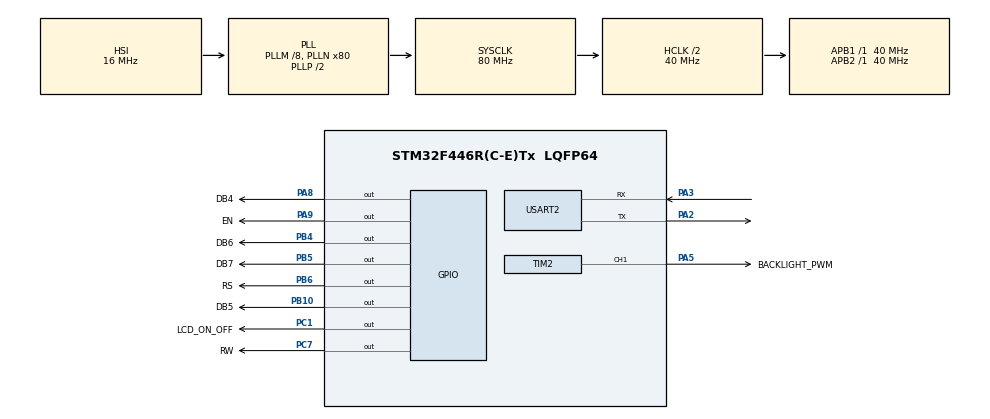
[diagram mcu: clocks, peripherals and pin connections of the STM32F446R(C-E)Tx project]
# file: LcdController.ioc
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Mcu.Family=STM32F4
Mcu.Name=STM32F446R(C-E)Tx
Mcu.Package=LQFP64
NVIC.PriorityGroup=NVIC_PRIORITYGROUP_4
NVIC.TIM1_BRK_TIM9_IRQn=true\:0\:0\:false\:false\:true\:true\:true\:true
PA2.Mode=Asynchronous
PA2.Signal=USART2_TX
PA3.Mode=Asynchronous
PA3.Signal=USART2_RX
PA5.GPIO_Label=BACKLIGHT_PWM
PA5.Signal=S_TIM2_CH1_ETR
PA8.GPIO_Label=DB4
PA8.Signal=GPIO_Output
PA9.GPIO_Label=EN
PA9.Signal=GPIO_Output
PB10.GPIO_Label=DB5
PB10.Signal=GPIO_Output
PB4.GPIO_Label=DB6
PB4.Signal=GPIO_Output
PB5.GPIO_Label=DB7
PB5.Signal=GPIO_Output
PB6.GPIO_Label=RS
PB6.Signal=GPIO_Output
PC1.GPIO_Label=LCD_ON_OFF
PC1.Signal=GPIO_Output
PC7.GPIO_Label=RW
PC7.Signal=GPIO_Output
ProjectManager.HeapSize=0x200
ProjectManager.StackSize=0x400
ProjectManager.TargetToolchain=STM32CubeIDE
RCC.AHBCLKDivider=RCC_SYSCLK_DIV2
RCC.AHBFreq_Value=40000000
RCC.APB1Freq_Value=40000000
RCC.APB1TimFreq_Value=40000000
RCC.APB2Freq_Value=40000000
RCC.APB2TimFreq_Value=40000000
RCC.CortexFreq_Value=40000000
RCC.HCLKFreq_Value=40000000
RCC.PLLM=8
RCC.PLLN=80
RCC.SYSCLKFreq_VALUE=80000000
RCC.SYSCLKSource=RCC_SYSCLKSOURCE_PLLCLK
RCC.USBFreq_Value=80000000
RCC.VCOOutputFreq_Value=160000000
SH.S_TIM2_CH1_ETR.0=TIM2_CH1,PWM Generation1 CH1
TIM2.Channel-PWM\ Generation1\ CH1=TIM_CHANNEL_1
TIM2.Period=50
TIM2.Prescaler=40-1
TIM2.Pulse-PWM\ Generation1\ CH1=500
TIM9.Period=80
TIM9.Prescaler=5-1
USART2.VirtualMode=VM_ASYNC
VP_TIM9_VS_ClockSourceINT.Mode=Internal
board=custom

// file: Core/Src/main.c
/* USER CODE BEGIN Header */
/**
  ******************************************************************************
  * @file           : main.c
  * @brief          : Main program body
  ******************************************************************************
  * @attention
  *
  * Copyright (c) 2023 STMicroelectronics.
  * All rights reserved.
  *
  * This software is licensed under terms that can be found in the LICENSE file
  * in the root directory of this software component.
  * If no LICENSE file comes with this software, it is provided AS-IS.
  *
  ******************************************************************************
  */
/* USER CODE END Header */
#include "main.h"

/* USER CODE BEGIN Includes */
#include "lcdController.h"
#include <stdio.h>
#include <string.h>
#include <inttypes.h>

/* USER CODE END Includes */

TIM_HandleTypeDef htim2;
TIM_HandleTypeDef htim9;
UART_HandleTypeDef huart2;

/* USER CODE BEGIN PV */
LcdController lcd;
uint8_t string1[17] = "*  LCD - 16x4  *";
uint8_t string2[17] = "* DISPLAY TEST *";
uint8_t string3[17] = "*  0123456789  *";
uint8_t string4[17] = "*    ABCDEF    *";
uint8_t string5[17] = "################";
uint8_t test = 0;
uint32_t counterTimer1 = 0;
uint32_t counterTest = 0;

/* USER CODE END PV */

void SystemClock_Config(void);
static void MX_GPIO_Init(void);
static void MX_USART2_UART_Init(void);
static void MX_TIM9_Init(void);
static void MX_TIM2_Init(void);

/* USER CODE BEGIN 0 */

/*
 * Timer interrupt handling (10us)
 */
void HAL_TIM_PeriodElapsedCallback(TIM_HandleTypeDef *htim)
{
	if(htim == &htim9)
	{
		if(lcdControllerGetDelayStatus(&lcd) == TRUE)
		{
			lcdControllerIncrementDelayCounter(&lcd);
		}

		if(lcdControllerGetEnableDelayStatus(&lcd) == TRUE)
		{
			lcdControllerIncrementEnableDelayCounter(&lcd);
		}

		counterTimer1++;
	}
}

/* USER CODE END 0 */

int main(void)
{

  /* MCU Configuration--------------------------------------------------------*/

  /* Reset of all peripherals, Initializes the Flash interface and the Systick. */
  HAL_Init();

  /* Configure the system clock */
  SystemClock_Config();

  /* Initialize all configured peripherals */
  MX_GPIO_Init();
  MX_USART2_UART_Init();
  MX_TIM9_Init();
  MX_TIM2_Init();
  /* USER CODE BEGIN 2 */

  lcdControllerInitStruct(&lcd,
		  RS_GPIO_Port, RS_Pin,
		  RW_GPIO_Port, RW_Pin,
		  EN_GPIO_Port, EN_Pin,
		  DB4_GPIO_Port, DB4_Pin,
		  DB5_GPIO_Port, DB5_Pin,
		  DB6_GPIO_Port, DB6_Pin,
		  DB7_GPIO_Port, DB7_Pin,
		  LCD_ON_OFF_GPIO_Port, LCD_ON_OFF_Pin,
		  &htim2, TIM_CHANNEL_1);

  HAL_Delay(250);
  HAL_TIM_PWM_Start(&htim2, TIM_CHANNEL_1);
  HAL_TIM_Base_Start_IT(&htim9);

  /* USER CODE END 2 */

  /* Infinite loop */
  while (1)
  {

    /* USER CODE BEGIN 3 */

	  if(lcdControllerIsInitialized(&lcd) == FALSE)
	  {
		  lcdControllerInit(&lcd);
		  continue;
	  }

	  if(counterTimer1 >= 100000)
	  {
		  counterTimer1 = 0;

		  if (test == 0)
		  {
			  switch (counterTest)
			  {
			  	  case 0:
			  		  lcdControllerSetString(&lcd, ROW_0, string1);
			  		  lcdControllerSetString(&lcd, ROW_1, string2);
			  		  lcdControllerSetString(&lcd, ROW_2, string3);
			  		  lcdControllerSetString(&lcd, ROW_3, string4);
			  		  counterTest++;
			  		  break;

			  	  case 1:
			  		  lcdControllerSetString(&lcd, ROW_0, string4);
			  		  lcdControllerSetString(&lcd, ROW_1, string1);
			  		  lcdControllerSetString(&lcd, ROW_2, string2);
			  		  lcdControllerSetString(&lcd, ROW_3, string3);
			  		  counterTest++;
			  		  break;

			  	  case 2:
			  		  lcdControllerSetString(&lcd, ROW_0, string3);
			  		  lcdControllerSetString(&lcd, ROW_1, string4);
			  		  lcdControllerSetString(&lcd, ROW_2, string1);
			  		  lcdControllerSetString(&lcd, ROW_3, string2);
			  		  counterTest++;
			  		  break;

			  	  case 3:
			  		  lcdControllerSetString(&lcd, ROW_0, string2);
			  		  lcdControllerSetString(&lcd, ROW_1, string3);
			  		  lcdControllerSetString(&lcd, ROW_2, string4);
			  		  lcdControllerSetString(&lcd, ROW_3, string1);
			  		  counterTest++;
			  		  break;

			  	  case 4:
			  		  lcdControllerSetString(&lcd, ROW_0, string5);
			  		  lcdControllerSetString(&lcd, ROW_1, string5);
			  		  lcdControllerSetString(&lcd, ROW_2, string5);
			  		  lcdControllerSetString(&lcd, ROW_3, string5);
			  		  counterTest = 0;
			  		  break;

			  	  default:
			  		  counterTest = 0;
			  		  break;
			  }

		  }
		  else
		  {

		  }

	  }

	  lcdControllerUpdate(&lcd);
  }
  /* USER CODE END 3 */
}

void SystemClock_Config(void)
{
  RCC_OscInitTypeDef RCC_OscInitStruct = {0};
  RCC_ClkInitTypeDef RCC_ClkInitStruct = {0};

  /** Configure the main internal regulator output voltage
  */
  __HAL_RCC_PWR_CLK_ENABLE();
  __HAL_PWR_VOLTAGESCALING_CONFIG(PWR_REGULATOR_VOLTAGE_SCALE3);

  /** Initializes the RCC Oscillators according to the specified parameters
  * in the RCC_OscInitTypeDef structure.
  */
  RCC_OscInitStruct.OscillatorType = RCC_OSCILLATORTYPE_HSI;
  RCC_OscInitStruct.HSIState = RCC_HSI_ON;
  RCC_OscInitStruct.HSICalibrationValue = RCC_HSICALIBRATION_DEFAULT;
  RCC_OscInitStruct.PLL.PLLState = RCC_PLL_ON;
  RCC_OscInitStruct.PLL.PLLSource = RCC_PLLSOURCE_HSI;
  RCC_OscInitStruct.PLL.PLLM = 8;
  RCC_OscInitStruct.PLL.PLLN = 80;
  RCC_OscInitStruct.PLL.PLLP = RCC_PLLP_DIV2;
  RCC_OscInitStruct.PLL.PLLQ = 2;
  RCC_OscInitStruct.PLL.PLLR = 2;
  if (HAL_RCC_OscConfig(&RCC_OscInitStruct) != HAL_OK)
  {
    Error_Handler();
  }

  /** Initializes the CPU, AHB and APB buses clocks
  */
  RCC_ClkInitStruct.ClockType = RCC_CLOCKTYPE_HCLK|RCC_CLOCKTYPE_SYSCLK
                              |RCC_CLOCKTYPE_PCLK1|RCC_CLOCKTYPE_PCLK2;
  RCC_ClkInitStruct.SYSCLKSource = RCC_SYSCLKSOURCE_PLLCLK;
  RCC_ClkInitStruct.AHBCLKDivider = RCC_SYSCLK_DIV2;
  RCC_ClkInitStruct.APB1CLKDivider = RCC_HCLK_DIV1;
  RCC_ClkInitStruct.APB2CLKDivider = RCC_HCLK_DIV1;

  if (HAL_RCC_ClockConfig(&RCC_ClkInitStruct, FLASH_LATENCY_1) != HAL_OK)
  {
    Error_Handler();
  }
}

static void MX_TIM2_Init(void)
{

  TIM_MasterConfigTypeDef sMasterConfig = {0};
  TIM_OC_InitTypeDef sConfigOC = {0};

  htim2.Instance = TIM2;
  htim2.Init.Prescaler = 40-1;
  htim2.Init.CounterMode = TIM_COUNTERMODE_UP;
  htim2.Init.Period = 50;
  htim2.Init.ClockDivision = TIM_CLOCKDIVISION_DIV1;
  htim2.Init.AutoReloadPreload = TIM_AUTORELOAD_PRELOAD_DISABLE;
  if (HAL_TIM_PWM_Init(&htim2) != HAL_OK)
  {
    Error_Handler();
  }
  sMasterConfig.MasterOutputTrigger = TIM_TRGO_RESET;
  sMasterConfig.MasterSlaveMode = TIM_MASTERSLAVEMODE_DISABLE;
  if (HAL_TIMEx_MasterConfigSynchronization(&htim2, &sMasterConfig) != HAL_OK)
  {
    Error_Handler();
  }
  sConfigOC.OCMode = TIM_OCMODE_PWM1;
  sConfigOC.Pulse = 500;
  sConfigOC.OCPolarity = TIM_OCPOLARITY_HIGH;
  sConfigOC.OCFastMode = TIM_OCFAST_DISABLE;
  if (HAL_TIM_PWM_ConfigChannel(&htim2, &sConfigOC, TIM_CHANNEL_1) != HAL_OK)
  {
    Error_Handler();
  }
  HAL_TIM_MspPostInit(&htim2);

}

static void MX_TIM9_Init(void)
{

  TIM_ClockConfigTypeDef sClockSourceConfig = {0};

  htim9.Instance = TIM9;
  htim9.Init.Prescaler = 5-1;
  htim9.Init.CounterMode = TIM_COUNTERMODE_UP;
  htim9.Init.Period = 80;
  htim9.Init.ClockDivision = TIM_CLOCKDIVISION_DIV1;
  htim9.Init.AutoReloadPreload = TIM_AUTORELOAD_PRELOAD_DISABLE;
  if (HAL_TIM_Base_Init(&htim9) != HAL_OK)
  {
    Error_Handler();
  }
  sClockSourceConfig.ClockSource = TIM_CLOCKSOURCE_INTERNAL;
  if (HAL_TIM_ConfigClockSource(&htim9, &sClockSourceConfig) != HAL_OK)
  {
    Error_Handler();
  }

}

static void MX_USART2_UART_Init(void)
{

  huart2.Instance = USART2;
  huart2.Init.BaudRate = 115200;
  huart2.Init.WordLength = UART_WORDLENGTH_8B;
  huart2.Init.StopBits = UART_STOPBITS_1;
  huart2.Init.Parity = UART_PARITY_NONE;
  huart2.Init.Mode = UART_MODE_TX_RX;
  huart2.Init.HwFlowCtl = UART_HWCONTROL_NONE;
  huart2.Init.OverSampling = UART_OVERSAMPLING_16;
  if (HAL_UART_Init(&huart2) != HAL_OK)
  {
    Error_Handler();
  }

}

static void MX_GPIO_Init(void)
{
  GPIO_InitTypeDef GPIO_InitStruct = {0};

  /* GPIO Ports Clock Enable */
  __HAL_RCC_GPIOC_CLK_ENABLE();
  __HAL_RCC_GPIOA_CLK_ENABLE();
  __HAL_RCC_GPIOB_CLK_ENABLE();

  /*Configure GPIO pin Output Level */
  HAL_GPIO_WritePin(GPIOC, LCD_ON_OFF_Pin|RW_Pin, GPIO_PIN_RESET);

  /*Configure GPIO pin Output Level */
  HAL_GPIO_WritePin(GPIOB, DB5_Pin|DB6_Pin|DB7_Pin|RS_Pin, GPIO_PIN_RESET);

  /*Configure GPIO pin Output Level */
  HAL_GPIO_WritePin(GPIOA, DB4_Pin|EN_Pin, GPIO_PIN_RESET);

  /*Configure GPIO pins : LCD_ON_OFF_Pin RW_Pin */
  GPIO_InitStruct.Pin = LCD_ON_OFF_Pin|RW_Pin;
  GPIO_InitStruct.Mode = GPIO_MODE_OUTPUT_PP;
  GPIO_InitStruct.Pull = GPIO_NOPULL;
  GPIO_InitStruct.Speed = GPIO_SPEED_FREQ_LOW;
  HAL_GPIO_Init(GPIOC, &GPIO_InitStruct);

  /*Configure GPIO pins : DB5_Pin DB6_Pin DB7_Pin RS_Pin */
  GPIO_InitStruct.Pin = DB5_Pin|DB6_Pin|DB7_Pin|RS_Pin;
  GPIO_InitStruct.Mode = GPIO_MODE_OUTPUT_PP;
  GPIO_InitStruct.Pull = GPIO_NOPULL;
  GPIO_InitStruct.Speed = GPIO_SPEED_FREQ_LOW;
  HAL_GPIO_Init(GPIOB, &GPIO_InitStruct);

  /*Configure GPIO pins : DB4_Pin EN_Pin */
  GPIO_InitStruct.Pin = DB4_Pin|EN_Pin;
  GPIO_InitStruct.Mode = GPIO_MODE_OUTPUT_PP;
  GPIO_InitStruct.Pull = GPIO_NOPULL;
  GPIO_InitStruct.Speed = GPIO_SPEED_FREQ_LOW;
  HAL_GPIO_Init(GPIOA, &GPIO_InitStruct);

}

void Error_Handler(void)
{
  __disable_irq();
  while (1)
  {
  }
}
